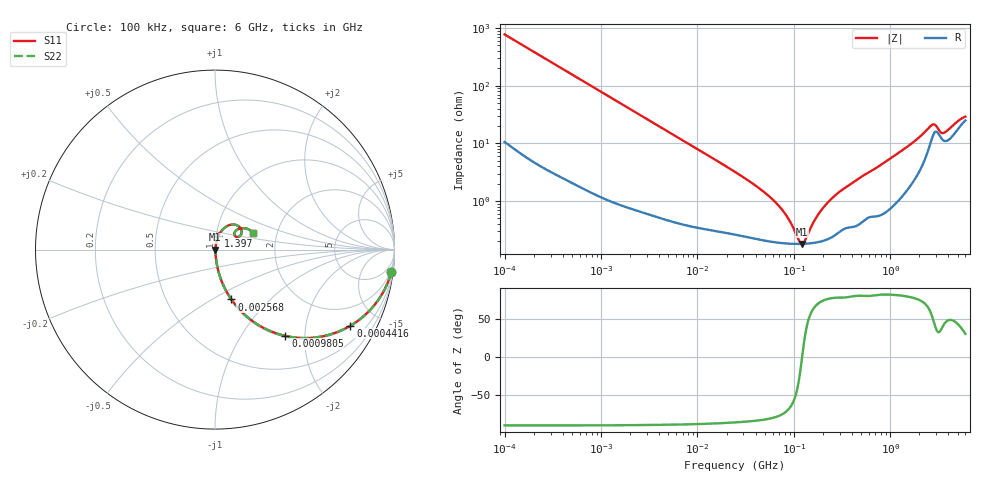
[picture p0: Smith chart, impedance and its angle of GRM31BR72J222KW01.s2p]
!Murata Part Number: GRM31BR72J222KW01
!These Parameters are Measured in Series Mode Connection
!Data Generated on Mar 30, 2021
!  o--ll--o
!Port1  Port2
!  o------o
!Operation Temp=25[degC], DC Bias Voltage=0[V]
!Freq. Start=100[kHz] Stop=6[GHz] 401[Steps]
# Hz S RI R 50
!Freq.(Hz) S11(Real) S11(Imag) S21(Real) S21(Imag) S12(Real) S12(Imag) S22(Real) S22(Imag)
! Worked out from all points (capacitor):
!   401 points, 100 kHz to 6 GHz, reference 50 ohm
!   read as one part in series: C = 2.06 nF near 105.7 kHz
!   lowest |Z| = 181 mohm at 120.8 MHz (marker M1)
!   series resonance near 121.5 MHz, so ESL is about 840 pH
!   S11 on the Smith chart (normalised r, x): 100 kHz: 1, -15; 441.6 kHz: 1.05, -3.53; 980.5 kHz: 1.02, -1.60; 2.568 MHz: 1.01, -0.62; 1.397 GHz: 1.03, +0.16; 6 GHz: 1.50, +0.30
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100000  0.9818 -0.1268  0.0182 0.1268  0.0182 0.1268  0.9818 -0.1268
234589  0.9137 -0.2748  0.0863 0.2748  0.0863 0.2748  0.9137 -0.2748
441622  0.7546 -0.4239  0.2454 0.4239  0.2454 0.4239  0.7546 -0.4239
631452  0.6042 -0.4823  0.3958 0.4823  0.3958 0.4823  0.6042 -0.4823
980542  0.392 -0.4809  0.608 0.4809  0.608 0.4809  0.392 -0.4809
1565085  0.206 -0.396  0.794 0.396  0.794 0.396  0.206 -0.396
2567761  0.0914 -0.2778  0.9086 0.2778  0.9086 0.2778  0.0914 -0.2778
3987316  0.0426 -0.1895  0.9574 0.1895  0.9574 0.1895  0.0426 -0.1895
2.517799e7  0.00355 -0.0309  0.9965 0.0309  0.9965 0.0309  0.00355 -0.0309
6.777267e7  0.00197 -0.00847  0.998 0.00847  0.998 0.00847  0.00197 -0.00847
8.680865e7  0.00185 -0.00472  0.9981 0.00472  0.9981 0.00472  0.00185 -0.00472
1.111915e8  0.00181 -0.00122  0.9982 0.00122  0.9982 0.00122  0.00181 -0.00122
1.207557e8  0.00181 -7.93e-05  0.9982 7.93e-05  0.9982 7.93e-05  0.00181 -7.93e-05
1.311426e8  0.00182 0.00107  0.9982 -0.00107  0.9982 -0.00107  0.00182 0.00107
1.546735e8  0.00188 0.0034  0.9981 -0.0034  0.9981 -0.0034  0.00188 0.0034
1.981182e8  0.00207 0.00711  0.9979 -0.00711  0.9979 -0.00711  0.00207 0.00711
2.755935e8  0.00281 0.0127  0.9972 -0.0127  0.9972 -0.0127  0.00281 0.0127
9.76689e8  0.00981 0.052  0.9902 -0.052  0.9902 -0.052  0.00981 0.052
1.396517e9  0.0192 0.0768  0.9808 -0.0768  0.9808 -0.0768  0.0192 0.0768
2.628996e9  0.1171 0.1375  0.8829 -0.1375  0.8829 -0.1375  0.1171 0.1375
3.557862e9  0.1082 0.0814  0.8918 -0.0814  0.8918 -0.0814  0.1082 0.0814
6e9  0.2112 0.0942  0.7888 -0.0942  0.7888 -0.0942  0.2112 0.0942
